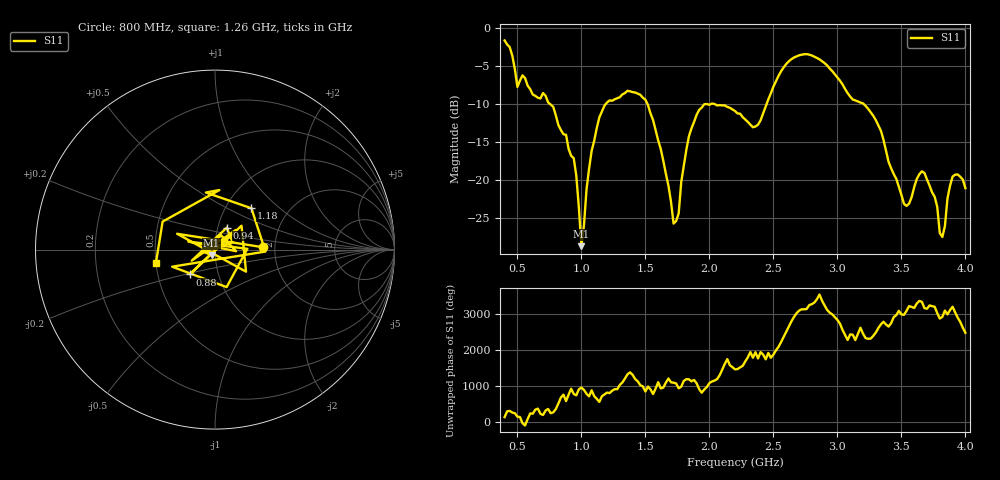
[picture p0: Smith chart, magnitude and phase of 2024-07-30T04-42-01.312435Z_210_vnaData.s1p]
!Created with skrf (http://scikit-rf.org).
# Hz S RI R 50.0
!freq ReS11 ImS11
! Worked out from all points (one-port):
!   181 points, 400 MHz to 4 GHz, reference 50 ohm
!   lowest |S11| = -28.8 dB at 1 GHz (marker M1), VSWR 1.08, Z = 48 - j2.98 ohm
!   |S11| at or under -10 dB: 752.4 MHz to 1.192 GHz (439.9 MHz wide, 45.2 % of centre); 1.515 GHz to 2.017 GHz (501.5 MHz wide, 28.4 % of centre); 3.203 GHz to end of sweep (the widest 3 of 4)
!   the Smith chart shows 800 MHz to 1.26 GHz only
!   S11 on the Smith chart (normalised r, x): 800 MHz: 1.72, +0.05; 880 MHz: 0.73, -0.21; 940 MHz: 1.10, +0.27; 1.18 GHz: 1.32, +0.67; 1.26 GHz: 0.50, -0.09
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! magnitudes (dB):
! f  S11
! 400 MHz  -1.7
! 500 MHz  -7.8
! 800 MHz  -11.5
! 860 MHz  -14.0
! 880 MHz  -14.1
! 940 MHz  -17.2
! 1 GHz  -28.8
! 1.08 GHz  -16.2
! 1.18 GHz  -10.3
! 1.26 GHz  -9.4
! 1.3 GHz  -9.1
! 1.5 GHz  -9.5
! 1.62 GHz  -16.0
! 1.72 GHz  -25.8
! 1.76 GHz  -24.4
! 1.84 GHz  -14.3
! 1.92 GHz  -10.8
! 2.2 GHz  -11.0
! 2.38 GHz  -12.8
! 2.66 GHz  -3.9
! 2.86 GHz  -4.1
! 3.1 GHz  -9.1
! 3.3 GHz  -12.2
! 3.56 GHz  -23.2
! 3.68 GHz  -19.1
! 3.82 GHz  -27.6
! 3.9 GHz  -19.6
! 4 GHz  -21.1
